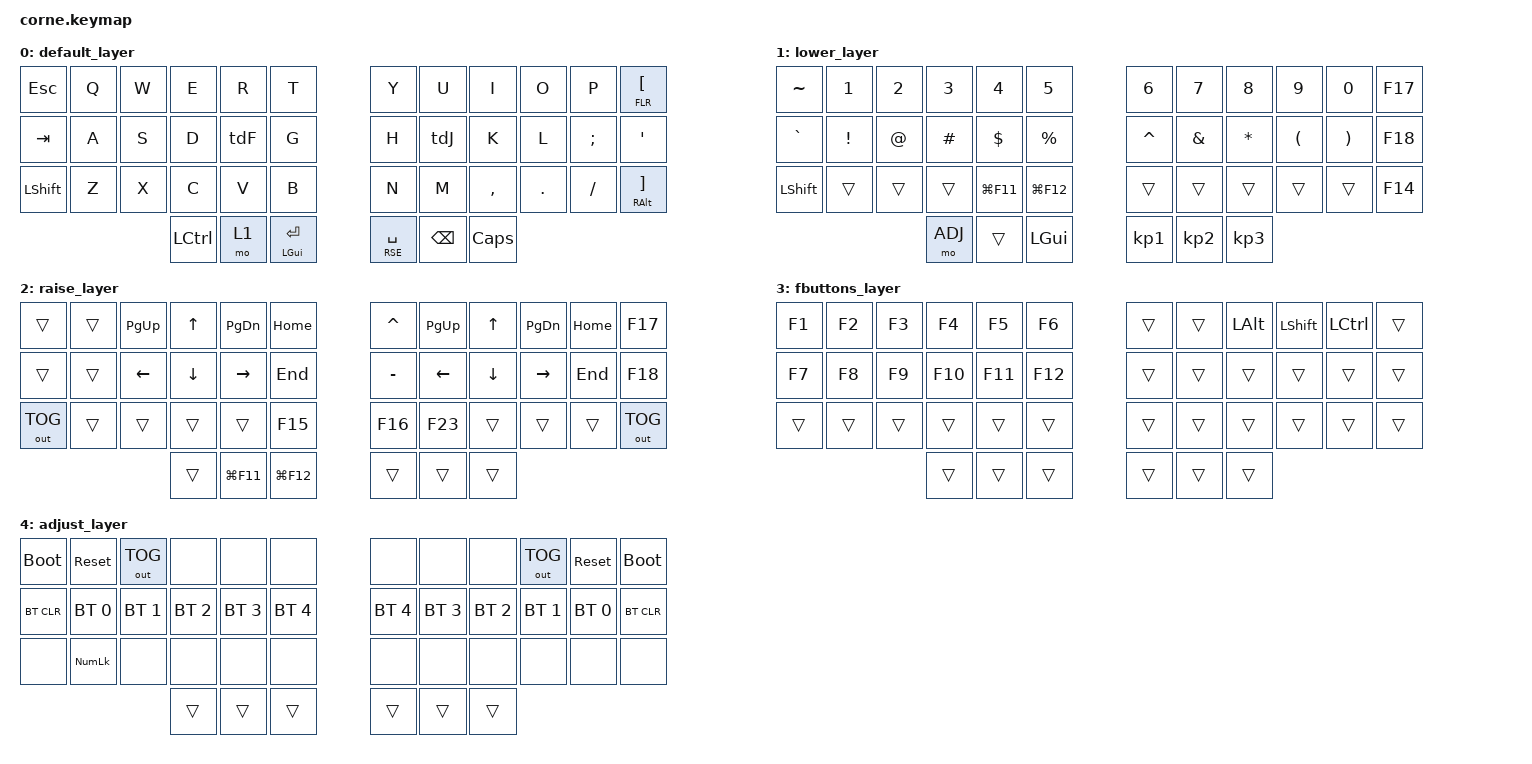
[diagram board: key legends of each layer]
/*
 * Copyright (c) 2020 The ZMK Contributors
 *
 * SPDX-License-Identifier: MIT
 */

#include <behaviors.dtsi>
#include <dt-bindings/zmk/keys.h>
#include <dt-bindings/zmk/bt.h>
#include <dt-bindings/zmk/outputs.h>

#define DEF 0
#define LWR 1
#define RSE 2
#define FLR 3
#define ADJ 4

/ {
        keymap {
                compatible = "zmk,keymap";

                default_layer {
                        bindings = <
            // ╭─────────────┬─────────────┬─────────────┬─────────────┬─────────────┬─────────────╮   ╭─────────────┬─────────────┬─────────────┬─────────────┬─────────────┬─────────────╮
                  &kp ESC       &kp Q         &kp W         &kp E        &kp R         &kp T              &kp Y         &kp U         &kp I         &kp O         &kp P         &lt FLR LEFT_BRACKET
            // ├─────────────┼─────────────┼─────────────┼─────────────┼─────────────┼─────────────┤   ├─────────────┼─────────────┼─────────────┼─────────────┼─────────────┼─────────────┤
                  &kp TAB       &kp A         &kp S         &kp D        &tdF          &kp G              &kp H         &tdJ          &kp K         &kp L         &kp SEMI      &kp SQT
            // ├─────────────┼─────────────┼─────────────┼─────────────┼─────────────┼─────────────┤   ├─────────────┼─────────────┼─────────────┼─────────────┼─────────────┼─────────────┤
                  &kp LSHFT     &kp Z         &kp X         &kp C        &kp V         &kp B              &kp N         &kp M         &kp COMMA     &kp DOT       &kp FSLH      &mt RALT RIGHT_BRACKET
            // ╰─────────────┴─────────────┼─────────────┼─────────────┼─────────────┼─────────────┤   ├─────────────┼─────────────┼─────────────┼─────────────┼─────────────┴─────────────╯
                                                            &kp LCTRL     &mo 1        &mt LGUI RET     &lt RSE SPACE   &kp BSPC     &kp CAPSLOCK
            //                                           ╰─────────────┴─────────────┴─────────────╯   ╰─────────────┴─────────────┴─────────────╯
                        >;
                };
                lower_layer {
                        bindings = <
            // ╭─────────────┬─────────────┬─────────────┬─────────────┬─────────────┬─────────────╮   ╭─────────────┬─────────────┬─────────────┬─────────────┬─────────────┬─────────────╮
                  &kp TILDE      &kp N1         &kp N2        &kp N3        &kp N4        &kp N5            &kp N6        &kp N7        &kp N8        &kp N9        &kp N0       &kp F17
            // ├─────────────┼─────────────┼─────────────┼─────────────┼─────────────┼─────────────┤   ├─────────────┼─────────────┼─────────────┼─────────────┼─────────────┼─────────────┤
                  &kp GRAVE      &kp EXCL       &kp AT       &kp HASH      &kp DLLR     &kp PRCNT         &kp CARET     &kp AMPS      &kp ASTRK      &kp LPAR      &kp RPAR      &kp F18
            // ├─────────────┼─────────────┼─────────────┼─────────────┼─────────────┼─────────────┤   ├─────────────┼─────────────┼─────────────┼─────────────┼─────────────┼─────────────┤
                  &kp LSHFT      &trans         &trans        &trans      &kp LG(F11)   &kp LG(F12)         &trans       &trans         &trans        &trans        &trans       &kp F14
            // ╰─────────────┴─────────────┼─────────────┼─────────────┼─────────────┼─────────────┤   ├─────────────┼─────────────┼─────────────┼─────────────┼─────────────┴─────────────╯
                                                             &mo ADJ        &trans       &kp LGUI         &kp KP_N1     &kp KP_N2     &kp KP_N3
            //                                           ╰─────────────┴─────────────┴─────────────╯   ╰─────────────┴─────────────┴─────────────╯
                        >;
                };
                raise_layer {
                        bindings = <
            // ╭─────────────┬─────────────┬─────────────┬─────────────┬─────────────┬─────────────╮   ╭─────────────┬─────────────┬─────────────┬─────────────┬─────────────┬─────────────╮
                   &trans         &trans     &kp PG_UP      &kp UP        &kp PG_DN     &kp HOME          &kp CARET     &kp PG_UP     &kp UP        &kp PG_DN     &kp HOME     &kp F17
            // ├─────────────┼─────────────┼─────────────┼─────────────┼─────────────┼─────────────┤   ├─────────────┼─────────────┼─────────────┼─────────────┼─────────────┼─────────────┤
                   &trans         &trans     &kp LEFT       &kp DOWN      &kp RIGHT     &kp END           &kp MINUS     &kp LEFT      &kp DOWN      &kp RIGHT     &kp END      &kp F18
            // ├─────────────┼─────────────┼─────────────┼─────────────┼─────────────┼─────────────┤   ├─────────────┼─────────────┼─────────────┼─────────────┼─────────────┼─────────────┤
                 &out OUT_TOG     &trans     &trans         &trans        &trans        &kp F15           &kp F16       &kp F23       &trans        &trans        &trans       &out OUT_TOG
            // ╰─────────────┴─────────────┼─────────────┼─────────────┼─────────────┼─────────────┤   ├─────────────┼─────────────┼─────────────┼─────────────┼─────────────┴─────────────╯
                                                              &trans     &kp LG(F11)   &kp LG(F12)            &trans        &trans        &trans
            //                                           ╰─────────────┴─────────────┴─────────────╯   ╰─────────────┴─────────────┴─────────────╯
                        >; 
                };
                fbuttons_layer {
                        bindings = <
            // ╭─────────────┬─────────────┬─────────────┬─────────────┬─────────────┬─────────────╮   ╭─────────────┬─────────────┬─────────────┬─────────────┬─────────────┬─────────────╮
                   &kp F1        &kp F2        &kp F3         &kp F4        &kp F5        &kp F6            &trans        &trans       &kp LALT     &kp LSHFT     &kp LCTRL      &trans
            // ├─────────────┼─────────────┼─────────────┼─────────────┼─────────────┼─────────────┤   ├─────────────┼─────────────┼─────────────┼─────────────┼─────────────┼─────────────┤
                   &kp F7        &kp F8        &kp F9         &kp F10       &kp F11       &kp F12           &trans        &trans       &trans       &trans        &trans         &trans
            // ├─────────────┼─────────────┼─────────────┼─────────────┼─────────────┼─────────────┤   ├─────────────┼─────────────┼─────────────┼─────────────┼─────────────┼─────────────┤
                   &trans        &trans        &trans         &trans        &trans        &trans            &trans        &trans       &trans       &trans        &trans         &trans
            // ╰─────────────┴─────────────┼─────────────┼─────────────┼─────────────┼─────────────┤   ├─────────────┼─────────────┼─────────────┼─────────────┼─────────────┴─────────────╯
                                                              &trans        &trans        &trans            &trans       &trans        &trans
            //                                           ╰─────────────┴─────────────┴─────────────╯   ╰─────────────┴─────────────┴─────────────╯
                        >; 
                };
                adjust_layer {
                        bindings = <
            // ╭─────────────┬─────────────┬─────────────┬─────────────┬─────────────┬─────────────╮   ╭─────────────┬─────────────┬─────────────┬─────────────┬─────────────┬─────────────╮
                 &bootloader    &sys_reset   &out OUT_TOG     &none         &none         &none             &none         &none         &none      &out OUT_TOG   &sys_reset   &bootloader
            // ├─────────────┼─────────────┼─────────────┼─────────────┼─────────────┼─────────────┤   ├─────────────┼─────────────┼─────────────┼─────────────┼─────────────┼─────────────┤
                 &bt BT_CLR    &bt BT_SEL 0  &bt BT_SEL 1  &bt BT_SEL 2  &bt BT_SEL 3  &bt BT_SEL 4      &bt BT_SEL 4  &bt BT_SEL 3   &bt BT_SEL 2  &bt BT_SEL 1  &bt BT_SEL 0  &bt BT_CLR
            // ├─────────────┼─────────────┼─────────────┼─────────────┼─────────────┼─────────────┤   ├─────────────┼─────────────┼─────────────┼─────────────┼─────────────┼─────────────┤
                   &none       &kp KP_NUM       &none         &none         &none         &none             &none         &none         &none         &none         &none         &none
            // ╰─────────────┴─────────────┼─────────────┼─────────────┼─────────────┼─────────────┤   ├─────────────┼─────────────┼─────────────┼─────────────┼─────────────┴─────────────╯
                                                              &trans        &trans        &trans            &trans        &trans        &trans
            //                                           ╰─────────────┴─────────────┴─────────────╯   ╰─────────────┴─────────────┴─────────────╯

                        >;
                };
        };
};
